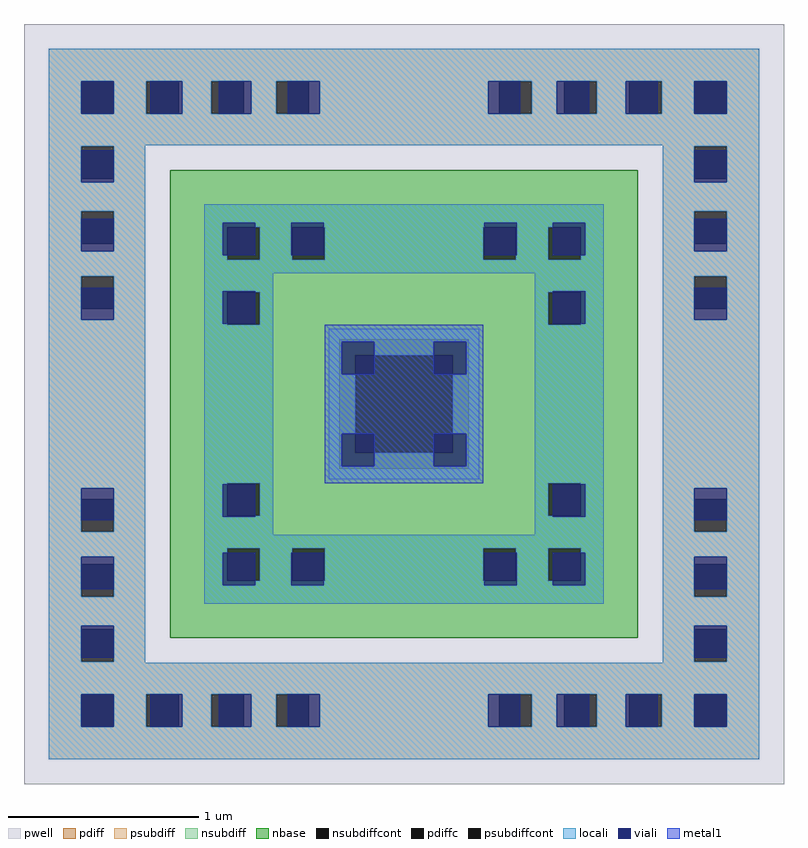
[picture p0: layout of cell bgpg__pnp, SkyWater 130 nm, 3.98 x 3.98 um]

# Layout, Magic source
magic
tech sky130A
magscale 1 2
<< pwell >>
rect 0 643 796 796
rect 0 153 153 643
rect 643 153 796 643
rect 0 0 796 153
<< nbase >>
rect 153 153 643 643
<< pdiff >>
rect 330 449 466 466
rect 330 347 347 449
rect 449 347 466 449
rect 330 330 466 347
<< pdiffc >>
rect 347 347 449 449
<< psubdiff >>
rect 26 736 770 770
rect 26 702 60 736
rect 94 702 128 736
rect 162 702 196 736
rect 230 702 264 736
rect 298 702 498 736
rect 532 702 566 736
rect 600 702 634 736
rect 668 702 702 736
rect 736 702 770 736
rect 26 669 770 702
rect 26 668 127 669
rect 26 634 60 668
rect 94 634 127 668
rect 26 600 127 634
rect 669 668 770 669
rect 669 634 702 668
rect 736 634 770 668
rect 26 566 60 600
rect 94 566 127 600
rect 26 532 127 566
rect 26 498 60 532
rect 94 498 127 532
rect 26 298 127 498
rect 26 264 60 298
rect 94 264 127 298
rect 26 230 127 264
rect 26 196 60 230
rect 94 196 127 230
rect 26 162 127 196
rect 669 600 770 634
rect 669 566 702 600
rect 736 566 770 600
rect 669 532 770 566
rect 669 498 702 532
rect 736 498 770 532
rect 669 298 770 498
rect 669 264 702 298
rect 736 264 770 298
rect 669 230 770 264
rect 669 196 702 230
rect 736 196 770 230
rect 26 128 60 162
rect 94 128 127 162
rect 26 127 127 128
rect 669 162 770 196
rect 669 128 702 162
rect 736 128 770 162
rect 669 127 770 128
rect 26 94 770 127
rect 26 60 60 94
rect 94 60 128 94
rect 162 60 196 94
rect 230 60 264 94
rect 298 60 498 94
rect 532 60 566 94
rect 600 60 634 94
rect 668 60 702 94
rect 736 60 770 94
rect 26 26 770 60
<< nsubdiff >>
rect 189 583 607 607
rect 189 549 213 583
rect 247 549 281 583
rect 315 549 481 583
rect 515 549 549 583
rect 583 549 607 583
rect 189 535 607 549
rect 189 515 261 535
rect 189 481 213 515
rect 247 481 261 515
rect 189 315 261 481
rect 535 515 607 535
rect 535 481 549 515
rect 583 481 607 515
rect 189 281 213 315
rect 247 281 261 315
rect 189 261 261 281
rect 535 315 607 481
rect 535 281 549 315
rect 583 281 607 315
rect 535 261 607 281
rect 189 247 607 261
rect 189 213 213 247
rect 247 213 281 247
rect 315 213 481 247
rect 515 213 549 247
rect 583 213 607 247
rect 189 189 607 213
<< psubdiffcont >>
rect 60 702 94 736
rect 128 702 162 736
rect 196 702 230 736
rect 264 702 298 736
rect 498 702 532 736
rect 566 702 600 736
rect 634 702 668 736
rect 702 702 736 736
rect 60 634 94 668
rect 702 634 736 668
rect 60 566 94 600
rect 60 498 94 532
rect 60 264 94 298
rect 60 196 94 230
rect 702 566 736 600
rect 702 498 736 532
rect 702 264 736 298
rect 702 196 736 230
rect 60 128 94 162
rect 702 128 736 162
rect 60 60 94 94
rect 128 60 162 94
rect 196 60 230 94
rect 264 60 298 94
rect 498 60 532 94
rect 566 60 600 94
rect 634 60 668 94
rect 702 60 736 94
<< nsubdiffcont >>
rect 213 549 247 583
rect 281 549 315 583
rect 481 549 515 583
rect 549 549 583 583
rect 213 481 247 515
rect 549 481 583 515
rect 213 281 247 315
rect 549 281 583 315
rect 213 213 247 247
rect 281 213 315 247
rect 481 213 515 247
rect 549 213 583 247
<< locali >>
rect 26 736 770 770
rect 26 702 60 736
rect 94 702 128 736
rect 166 702 196 736
rect 238 702 264 736
rect 310 702 486 736
rect 532 702 558 736
rect 600 702 630 736
rect 668 702 702 736
rect 736 702 770 736
rect 26 669 770 702
rect 26 668 127 669
rect 26 630 60 668
rect 94 630 127 668
rect 26 600 127 630
rect 669 668 770 669
rect 669 630 702 668
rect 736 630 770 668
rect 26 558 60 600
rect 94 558 127 600
rect 26 532 127 558
rect 26 486 60 532
rect 94 486 127 532
rect 26 310 127 486
rect 26 264 60 310
rect 94 264 127 310
rect 26 238 127 264
rect 26 196 60 238
rect 94 196 127 238
rect 26 166 127 196
rect 189 588 607 607
rect 189 554 208 588
rect 242 583 280 588
rect 314 583 482 588
rect 516 583 554 588
rect 247 554 280 583
rect 189 549 213 554
rect 247 549 281 554
rect 315 549 481 583
rect 516 554 549 583
rect 588 554 607 588
rect 515 549 549 554
rect 583 549 607 554
rect 189 535 607 549
rect 189 516 261 535
rect 189 482 208 516
rect 242 515 261 516
rect 189 481 213 482
rect 247 481 261 515
rect 189 315 261 481
rect 535 516 607 535
rect 535 515 554 516
rect 535 481 549 515
rect 588 482 607 516
rect 583 481 607 482
rect 319 463 477 477
rect 319 429 333 463
rect 367 449 429 463
rect 463 429 477 463
rect 319 367 347 429
rect 449 367 477 429
rect 319 333 333 367
rect 367 333 429 347
rect 463 333 477 367
rect 319 319 477 333
rect 189 314 213 315
rect 189 280 208 314
rect 247 281 261 315
rect 242 280 261 281
rect 189 261 261 280
rect 535 315 607 481
rect 535 281 549 315
rect 583 314 607 315
rect 535 280 554 281
rect 588 280 607 314
rect 535 261 607 280
rect 189 247 607 261
rect 189 242 213 247
rect 247 242 281 247
rect 189 208 208 242
rect 247 213 280 242
rect 315 213 481 247
rect 515 242 549 247
rect 583 242 607 247
rect 516 213 549 242
rect 242 208 280 213
rect 314 208 482 213
rect 516 208 554 213
rect 588 208 607 242
rect 189 189 607 208
rect 669 600 770 630
rect 669 558 702 600
rect 736 558 770 600
rect 669 532 770 558
rect 669 486 702 532
rect 736 486 770 532
rect 669 310 770 486
rect 669 264 702 310
rect 736 264 770 310
rect 669 238 770 264
rect 669 196 702 238
rect 736 196 770 238
rect 26 128 60 166
rect 94 128 127 166
rect 26 127 127 128
rect 669 166 770 196
rect 669 128 702 166
rect 736 128 770 166
rect 669 127 770 128
rect 26 94 770 127
rect 26 60 60 94
rect 94 60 128 94
rect 166 60 196 94
rect 238 60 264 94
rect 310 60 486 94
rect 532 60 558 94
rect 600 60 630 94
rect 668 60 702 94
rect 736 60 770 94
rect 26 26 770 60
<< viali >>
rect 60 702 94 736
rect 132 702 162 736
rect 162 702 166 736
rect 204 702 230 736
rect 230 702 238 736
rect 276 702 298 736
rect 298 702 310 736
rect 486 702 498 736
rect 498 702 520 736
rect 558 702 566 736
rect 566 702 592 736
rect 630 702 634 736
rect 634 702 664 736
rect 702 702 736 736
rect 60 634 94 664
rect 60 630 94 634
rect 702 634 736 664
rect 702 630 736 634
rect 60 566 94 592
rect 60 558 94 566
rect 60 498 94 520
rect 60 486 94 498
rect 60 298 94 310
rect 60 276 94 298
rect 60 230 94 238
rect 60 204 94 230
rect 208 583 242 588
rect 280 583 314 588
rect 482 583 516 588
rect 554 583 588 588
rect 208 554 213 583
rect 213 554 242 583
rect 280 554 281 583
rect 281 554 314 583
rect 482 554 515 583
rect 515 554 516 583
rect 554 554 583 583
rect 583 554 588 583
rect 208 515 242 516
rect 208 482 213 515
rect 213 482 242 515
rect 554 515 588 516
rect 554 482 583 515
rect 583 482 588 515
rect 333 449 367 463
rect 429 449 463 463
rect 333 429 347 449
rect 347 429 367 449
rect 429 429 449 449
rect 449 429 463 449
rect 333 347 347 367
rect 347 347 367 367
rect 429 347 449 367
rect 449 347 463 367
rect 333 333 367 347
rect 429 333 463 347
rect 208 281 213 314
rect 213 281 242 314
rect 208 280 242 281
rect 554 281 583 314
rect 583 281 588 314
rect 554 280 588 281
rect 208 213 213 242
rect 213 213 242 242
rect 280 213 281 242
rect 281 213 314 242
rect 482 213 515 242
rect 515 213 516 242
rect 554 213 583 242
rect 583 213 588 242
rect 208 208 242 213
rect 280 208 314 213
rect 482 208 516 213
rect 554 208 588 213
rect 702 566 736 592
rect 702 558 736 566
rect 702 498 736 520
rect 702 486 736 498
rect 702 298 736 310
rect 702 276 736 298
rect 702 230 736 238
rect 702 204 736 230
rect 60 162 94 166
rect 60 132 94 162
rect 702 162 736 166
rect 702 132 736 162
rect 60 60 94 94
rect 132 60 162 94
rect 162 60 166 94
rect 204 60 230 94
rect 230 60 238 94
rect 276 60 298 94
rect 298 60 310 94
rect 486 60 498 94
rect 498 60 520 94
rect 558 60 566 94
rect 566 60 592 94
rect 630 60 634 94
rect 634 60 664 94
rect 702 60 736 94
<< metal1 >>
rect 315 463 481 481
rect 315 429 333 463
rect 367 429 429 463
rect 463 429 481 463
rect 315 367 481 429
rect 315 333 333 367
rect 367 333 429 367
rect 463 333 481 367
rect 315 315 481 333
<< end >>
